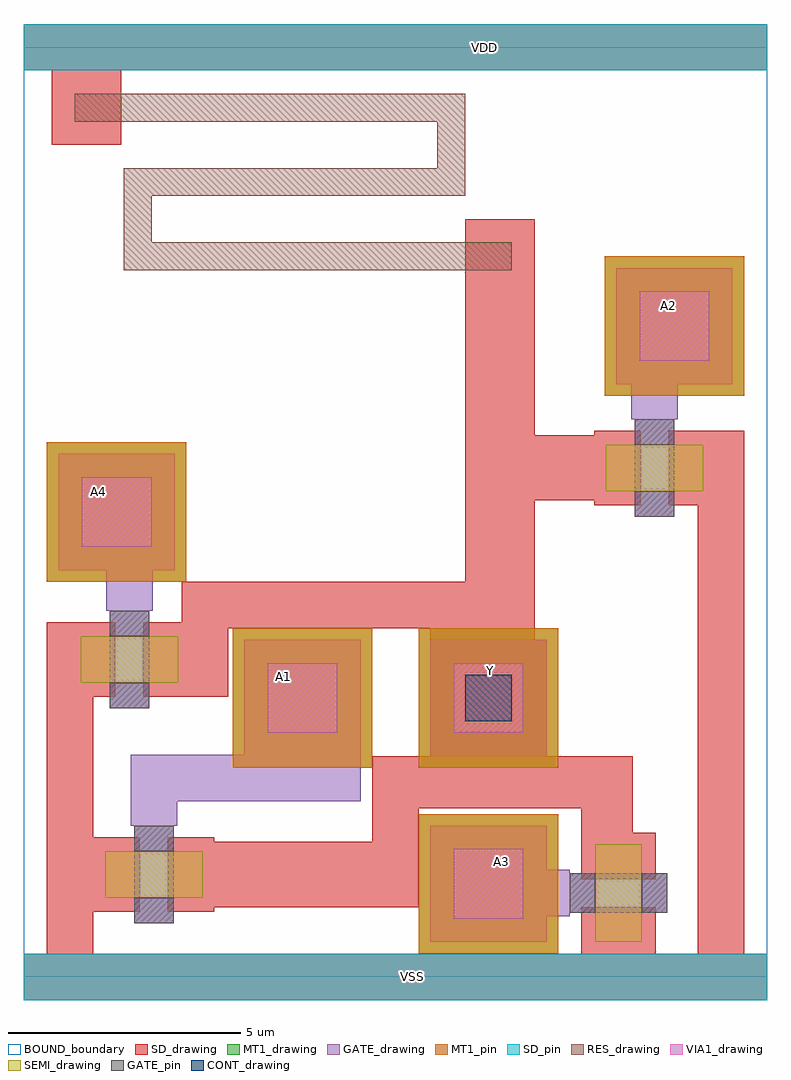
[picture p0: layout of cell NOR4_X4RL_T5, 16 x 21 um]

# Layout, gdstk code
from math import pi, radians
import gdstk
lib = gdstk.Library(unit=1e-6, precision=1e-09)
def R(c, l, rs):  # rectangles x0, y0, x1, y1
    for r in rs: c.add(gdstk.rectangle(r[:2], r[2:], *l))
def P(c, l, *ps):  # polygons
    for p in ps: c.add(gdstk.Polygon(p, *l))
RES_drawing = (1, 0)
SEMI_drawing = (3, 0)
SD_drawing = (10, 0)
SD_pin = (10, 3)
GATE_drawing = (11, 0)
GATE_pin = (11, 3)
MT1_drawing = (20, 0)
MT1_pin = (20, 3)
CONT_drawing = (30, 0)
VIA1_drawing = (41, 0)
BOUND_boundary = (150, 5)

nch_cdns_772545084800 = lib.new_cell('nch_CDNS_772545084800')
R(nch_cdns_772545084800, SEMI_drawing, [(-1.05,-0.5,1.05,0.5)])
R(nch_cdns_772545084800, SD_drawing, [(-1.3,-0.8,-0.3,0.8), (0.3,-0.8,1.3,0.8)])
R(nch_cdns_772545084800, GATE_drawing, [(-0.425,-1.05,0.425,1.05)])
R(nch_cdns_772545084800, GATE_pin, [(-0.425,-1.05,0.425,-0.5), (-0.425,0.5,0.425,1.05)])

gate_mt1_cdns_7725450848 = lib.new_cell('GATE_MT1_CDNS_772545084800')
R(gate_mt1_cdns_7725450848, GATE_drawing, [(-1.25,-1.25,1.25,1.25)])
R(gate_mt1_cdns_7725450848, MT1_drawing, [(-1.25,-1.25,1.25,1.25)])
R(gate_mt1_cdns_7725450848, VIA1_drawing, [(-0.75,-0.75,0.75,0.75)])

sd_gate_cdns_77254508480 = lib.new_cell('SD_GATE_CDNS_772545084801')
R(sd_gate_cdns_77254508480, SD_drawing, [(-1.25,-1.25,1.25,1.25)])
R(sd_gate_cdns_77254508480, GATE_drawing, [(-1.25,-1.25,1.25,1.25)])
R(sd_gate_cdns_77254508480, CONT_drawing, [(-0.5,-0.5,0.5,0.5)])

nor4_x4rl_t5 = lib.new_cell('NOR4_X4RL_T5')
R(nor4_x4rl_t5, SD_drawing, [(0,-0.5,16,0.5), (0.5,0.5,1.5,7.625), (14.5,0.5,15.5,11.75), (7.5,1.5,8.5,4.75), (12,3.1,13.1,4.75), (7.5,3.625,13.1,4.75), (3.4,6.025,4.4,8.5), (8.75,7.25,11,8.5), (3.4,7.5,11,8.5), (9.5,14.7,11,16.3), (0.6,17.9,2.1,19.5), (0,19.5,16,20.5)])
R(nor4_x4rl_t5, SD_pin, [(0,-0.5,16,0.5), (0,19.5,16,20.5)])
P(nor4_x4rl_t5, GATE_drawing, [(11.65,2.3),(11.65,1.3),(11.75,1.3),(11.75,1.425),(11.8,1.425),(11.8,2.175),(11.75,2.175),(11.75,2.3)],
  [(14.075,12.1),(13.075,12.1),(13.075,12),(13.2,12),(13.2,11.95),(13.95,11.95),(13.95,12),(14.075,12)],
  [(3.3,3.35),(2.3,3.35),(2.3,3.25),(2.425,3.25),(2.425,3.2),(3.175,3.2),(3.175,3.25),(3.3,3.25)],
  [(2.775,7.975),(1.775,7.975),(1.775,7.875),(1.9,7.875),(1.9,7.825),(2.65,7.825),(2.65,7.875),(2.775,7.875)])
R(nor4_x4rl_t5, MT1_drawing, [(8.5,0.5,11.5,3.5), (4.5,4.5,7.5,7.5), (8.5,4.5,11.5,7.5), (0.5,8.5,3.5,11.5), (12.5,12.5,15.5,15.5)])
R(nor4_x4rl_t5, MT1_pin, [(8.5,0.5,11.5,3.5), (4.5,4.5,7.5,7.5), (8.5,4.5,11.5,7.5), (0.5,8.5,3.5,11.5), (0.5,8.5,3.5,11.5), (12.5,12.5,15.5,15.5)])
R(nor4_x4rl_t5, BOUND_boundary, [(0,0,16,20)])
nor4_x4rl_t5.add(gdstk.FlexPath([(2.275,7.975),(2.275,8.925)], 1, ends="flush", simple_path=True, layer=11, datatype=0))  # GATE_drawing
nor4_x4rl_t5.add(gdstk.FlexPath([(2.8,3.35),(2.8,4.275)], 1, ends=(0, 0.5), simple_path=True, layer=11, datatype=0))  # GATE_drawing
nor4_x4rl_t5.add(gdstk.FlexPath([(11.65,1.8),(10.8,1.8)], 1, ends="flush", simple_path=True, layer=11, datatype=0))  # GATE_drawing
nor4_x4rl_t5.add(gdstk.FlexPath([(13.575,12.1),(13.575,12.825)], 1, ends="flush", simple_path=True, layer=11, datatype=0))  # GATE_drawing
nor4_x4rl_t5.add(gdstk.FlexPath([(2.8,4.275),(7.25,4.275)], 1, ends=(0.5, 0), simple_path=True, layer=11, datatype=0))  # GATE_drawing
nor4_x4rl_t5.add(gdstk.FlexPath([(10.25,14.7),(10.25,10.95)], 1.5, ends=(0, 0.7), simple_path=True, layer=10, datatype=0))  # SD_drawing
nor4_x4rl_t5.add(gdstk.FlexPath([(12.275,10.95),(10.25,10.95)], 1.4, ends=(0, 0.75), simple_path=True, layer=10, datatype=0))  # SD_drawing
nor4_x4rl_t5.add(gdstk.FlexPath([(10.25,10.95),(10.25,7.25)], 1.5, ends=(0.7, 0), simple_path=True, layer=10, datatype=0))  # SD_drawing
nor4_x4rl_t5.add(gdstk.FlexPath([(4.1,2.2),(7.5,2.2)], 1.4, ends="flush", simple_path=True, layer=10, datatype=0))  # SD_drawing
nor4_x4rl_t5.add(gdstk.FlexPath([(2.1,18.7),(9.2,18.7),(9.2,17.1),(2.45,17.1),(2.45,15.5),(9.5,15.5)], 0.6, ends=(1, 1), simple_path=True, layer=1, datatype=0))  # RES_drawing
nor4_x4rl_t5.add(gdstk.Reference(nch_cdns_772545084800, (12.8,1.8), rotation=3*pi/2))
nor4_x4rl_t5.add(gdstk.Reference(nch_cdns_772545084800, (2.8,2.2)))
nor4_x4rl_t5.add(gdstk.Reference(nch_cdns_772545084800, (2.275,6.825)))
nor4_x4rl_t5.add(gdstk.Reference(nch_cdns_772545084800, (13.575,10.95), rotation=pi))
nor4_x4rl_t5.add(gdstk.Reference(gate_mt1_cdns_7725450848, (14,14)))
nor4_x4rl_t5.add(gdstk.Reference(gate_mt1_cdns_7725450848, (2,10)))
nor4_x4rl_t5.add(gdstk.Reference(gate_mt1_cdns_7725450848, (10,2)))
nor4_x4rl_t5.add(gdstk.Reference(gate_mt1_cdns_7725450848, (10,6)))
nor4_x4rl_t5.add(gdstk.Reference(gate_mt1_cdns_7725450848, (6,6)))
nor4_x4rl_t5.add(gdstk.Reference(sd_gate_cdns_77254508480, (10,6)))
nor4_x4rl_t5.add(gdstk.Label('A4', (1.6,10.45), layer=20, texttype=3))
nor4_x4rl_t5.add(gdstk.Label('A3', (10.275,2.475), layer=20, texttype=3))
nor4_x4rl_t5.add(gdstk.Label('Y', (10.05,6.6), layer=20, texttype=3))
nor4_x4rl_t5.add(gdstk.Label('A2', (13.875,14.45), layer=20, texttype=3))
nor4_x4rl_t5.add(gdstk.Label('A1', (5.6,6.45), layer=20, texttype=3))
nor4_x4rl_t5.add(gdstk.Label('VSS', (8.375,0), layer=10, texttype=3))
nor4_x4rl_t5.add(gdstk.Label('VDD', (9.925,20), layer=10, texttype=3))

lib.write_gds('NOR4_X4RL_T5.gds')
